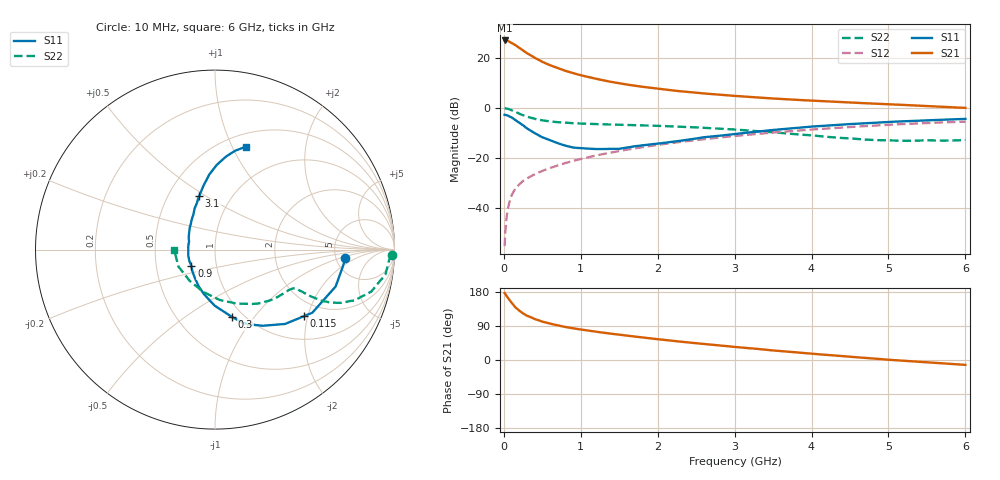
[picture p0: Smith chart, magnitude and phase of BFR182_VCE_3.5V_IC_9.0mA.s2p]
! Infineon Technologies  Discrete & RF Semiconductors
! BFR182
! VCE =  3.5 V,  IC =  9.0 mA
! Common Emitter S-Parameters:  Nov 2015
# GHz  S  MA  R  50
!  f  S11  S21  S12  S22
! GHz  MAG  ANG  MAG  ANG  MAG  ANG  MAG  ANG
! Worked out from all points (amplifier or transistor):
!   210 points, 10 MHz to 6 GHz, reference 50 ohm
!   highest |S21| = 27.0 dB at 10 MHz (marker M1)
!   |S21| within 3 dB of that: start of sweep to 203.8 MHz
!   unconditionally stable (mu >= 1): 832 MHz to 2.649 GHz
!   at 185 MHz: K = 0.48, MSG = 27.8 dB, |S12| = -31.2 dB
!   at 1.52 GHz: K = 1.05, MAG = 12.1 dB, |S12| = -17.2 dB
!   at 6 GHz: K = 0.89, MSG = 2.8 dB, |S12| = -5.5 dB
!   S11 on the Smith chart (normalised r, x): 10 MHz: 6.08, -1.14; 115 MHz: 1.58, -1.90; 300 MHz: 0.89, -0.78; 900 MHz: 0.76, -0.14; 3.1 GHz: 0.71, +0.47; 6 GHz: 0.63, +1.13
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0.01  0.7258 -3.5  22.28 176.8  0.0017 91.5  0.9841 -1.6
0.02  0.7206 -6.8  22.14 173.5  0.0034 85.7  0.9725 -3.3
0.05  0.7029 -17.0  21.89 164.7  0.0091 82.1  0.9602 -8.2
0.1  0.6462 -33.0  20.07 151.3  0.0176 76.0  0.9018 -15.0
0.115  0.6196 -36.7  19.35 147.9  0.0196 73.9  0.8792 -16.4
0.15  0.5694 -46.7  17.98 139.0  0.0243 70.3  0.8288 -19.9
0.2  0.5003 -58.0  15.93 130.2  0.0292 68.3  0.7624 -22.9
0.24  0.4571 -65.7  14.36 124.4  0.0334 65.8  0.7196 -24.2
0.26  0.435 -69.3  13.67 121.7  0.0353 65.4  0.7002 -24.8
0.3  0.3873 -75.8  12.41 116.9  0.0385 65.6  0.6651 -25.5
0.4  0.3121 -90.4  10.08 108.2  0.0465 65.5  0.6006 -26.0
0.5  0.2572 -103.5  8.309 101.2  0.0545 66.0  0.5595 -25.9
0.6  0.2253 -113.6  7.123 95.9  0.0623 66.2  0.5343 -25.8
0.7  0.1961 -124.5  6.221 91.1  0.0699 66.9  0.5152 -25.8
0.9  0.1604 -145.1  4.929 83.5  0.0865 67.5  0.4913 -26.1
1.02  0.1552 -158.1  4.412 79.9  0.0956 67.7  0.4826 -26.8
1.4  0.1509 168.6  3.288 69.2  0.1277 66.8  0.4634 -30.1
2.02  0.1932 134.9  2.386 54.5  0.1824 63.2  0.4348 -37.9
3.1  0.31 106.6  1.689 32.8  0.2818 53.9  0.3581 -57.6
4.1  0.4302 93.1  1.367 15.0  0.3757 43.1  0.2711 -88.7
5.1  0.5294 82.3  1.161 -0.6  0.4653 30.8  0.2204 -134.5
6  0.5998 73.2  0.996 -12.9  0.5287 18.4  0.2268 -179.1
